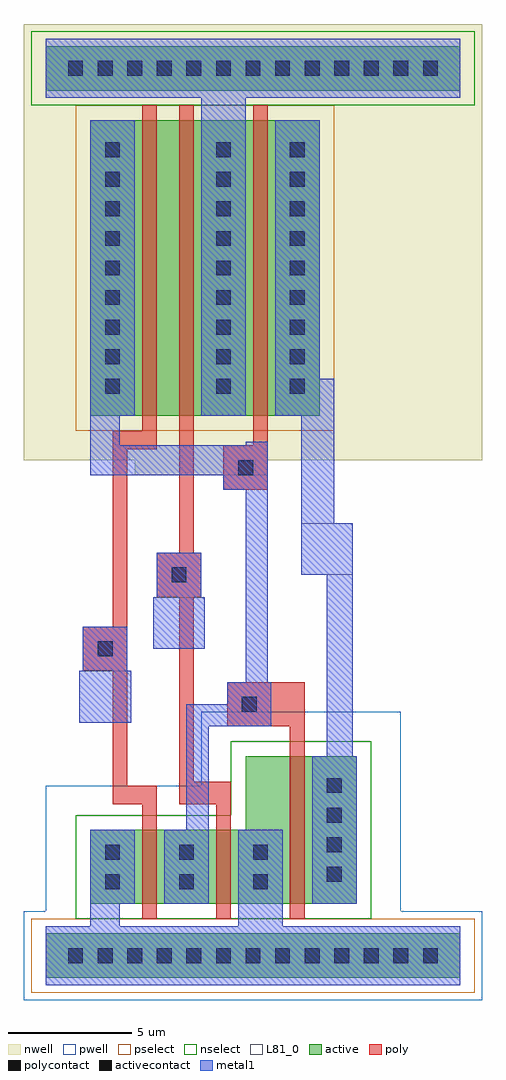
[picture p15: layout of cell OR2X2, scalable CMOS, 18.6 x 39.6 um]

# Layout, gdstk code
import gdstk
lib = gdstk.Library(unit=1e-6, precision=1e-09)
def R(c, l, rs):  # rectangles x0, y0, x1, y1
    for r in rs: c.add(gdstk.rectangle(r[:2], r[2:], *l))
def A(c, l, x, y, w, h, nx, ny, dx, dy):  # array of equal rectangles
    R(c, l, [(x+i*dx, y+j*dy, x+i*dx+w, y+j*dy+h) for i in range(nx) for j in range(ny)])
pwell = (41, 0)
nwell = (42, 0)
active = (43, 0)
pselect = (44, 0)
nselect = (45, 0)
poly = (46, 0)
polycontact = (47, 0)
activecontact = (48, 0)
metal1 = (49, 0)
L81_0 = (81, 0)

or2x2 = lib.new_cell('OR2X2')
R(or2x2, pwell, [(-1.8,-1.8,16.8,1.8), (-0.9,1.8,13.5,6.9), (5.4,6.9,13.5,9.9)])
R(or2x2, nwell, [(2.7,19.5,8.1,20.1), (-1.8,20.1,16.8,37.8)])
R(or2x2, active, [(-0.9,-0.9,15.9,0.9), (0.9,2.1,11.7,5.1), (7.2,5.1,11.7,8.1), (0.9,21.9,10.2,33.9), (-0.9,35.1,15.9,36.9)])
R(or2x2, pselect, [(-1.5,-1.5,16.5,1.5), (0.3,21.3,10.8,34.5)])
R(or2x2, nselect, [(0.3,1.5,12.3,5.7), (6.6,5.7,12.3,8.7), (-1.5,34.5,16.5,37.5)])
R(or2x2, poly, [(3,1.5,3.6,6.15), (6,1.5,6.6,6.15), (9,1.5,9.6,9.3), (1.8,6.15,3.6,6.9), (4.5,6.15,6.6,7.05), (1.8,6.9,2.4,11.55), (4.5,7.05,5.1,14.55), (6.45,9.3,9.6,11.1), (0.6,11.55,2.4,13.35), (1.8,13.35,2.4,20.55), (3.6,14.55,5.4,16.35), (4.5,16.35,5.1,34.5), (6.3,18.9,8.1,20.7), (1.8,20.55,3.6,21.3), (7.5,20.7,8.1,34.5), (3,21.3,3.6,34.5)])
R(or2x2, polycontact, [(7.05,9.9,7.65,10.5), (1.2,12.15,1.8,12.75), (4.2,15.15,4.8,15.75), (6.9,19.5,7.5,20.1)])
A(or2x2, activecontact, 0, -0.3, 0.6, 0.6, 13, 2, 1.2, 36)
A(or2x2, activecontact, 1.5, 2.7, 0.6, 0.6, 3, 2, 3, 1.2)
A(or2x2, activecontact, 10.5, 3, 0.6, 0.6, 1, 4, 0, 1.2)
A(or2x2, activecontact, 1.5, 22.8, 0.6, 0.6, 1, 9, 0, 1.2)
A(or2x2, activecontact, 6, 22.8, 0.6, 0.6, 1, 9, 0, 1.2)
A(or2x2, activecontact, 9, 22.8, 0.6, 0.6, 1, 9, 0, 1.2)
R(or2x2, metal1, [(-0.9,-1.2,15.9,1.2), (0.9,1.2,2.1,2.1), (6.9,1.2,8.7,5.1), (0.9,2.1,2.7,5.1), (3.9,2.1,5.7,5.1), (9.9,2.1,11.7,8.1), (4.8,5.1,5.7,9.3), (10.5,8.1,11.55,15.45), (4.8,9.3,8.25,10.2), (0.45,9.45,2.55,11.55), (6.45,10.2,8.25,11.1), (7.2,11.1,8.1,18.9), (0.6,11.55,2.4,13.35), (3.45,12.45,5.55,14.55), (3.6,14.55,5.4,16.35), (9.45,15.45,11.55,17.55), (9.45,17.55,10.8,21.9), (6.3,18.9,8.1,19.5), (0.9,19.5,8.1,20.7), (0.9,20.7,2.1,21.9), (7.2,20.7,8.1,20.85), (0.9,21.9,2.7,33.9), (5.4,21.9,7.2,34.8), (8.4,21.9,10.8,23.4), (8.4,23.4,10.2,33.9), (-0.9,34.8,15.9,37.2)])
R(or2x2, L81_0, [(0.45,9.45,2.55,11.55), (3.45,12.45,5.55,14.55), (9.45,15.45,11.55,17.55)])

lib.write_gds('OR2X2.gds')
